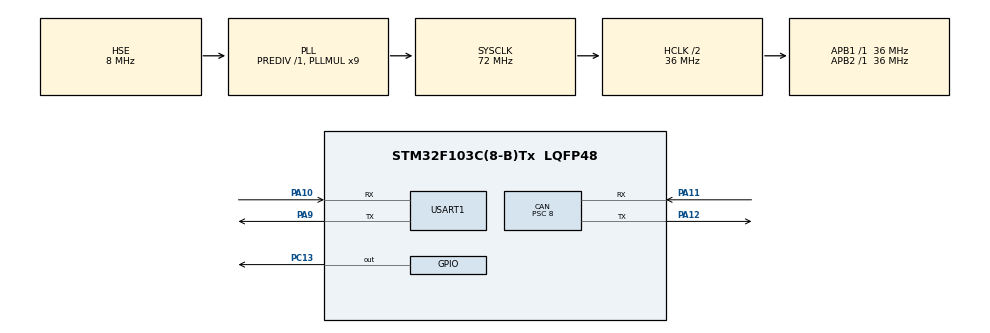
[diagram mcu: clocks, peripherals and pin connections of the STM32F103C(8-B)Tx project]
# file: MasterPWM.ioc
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CAN.ABOM=ENABLE
CAN.AWUM=ENABLE
CAN.BS1=CAN_BS1_4TQ
CAN.BS2=CAN_BS2_4TQ
CAN.CalculateBaudRate=500000
CAN.CalculateTimeBit=2000
CAN.CalculateTimeQuantum=222.22222222222223
CAN.NART=ENABLE
CAN.Prescaler=8
Mcu.Family=STM32F1
Mcu.Name=STM32F103C(8-B)Tx
Mcu.Package=LQFP48
NVIC.PriorityGroup=NVIC_PRIORITYGROUP_4
NVIC.USART1_IRQn=true\:0\:0\:false\:false\:true\:true\:true\:true
NVIC.USB_LP_CAN1_RX0_IRQn=true\:0\:0\:false\:false\:true\:true\:true\:true
PA10.GPIO_PuPd=GPIO_PULLUP
PA10.Mode=Asynchronous
PA10.Signal=USART1_RX
PA11.GPIO_PuPd=GPIO_PULLUP
PA11.Mode=CAN_Activate
PA11.Signal=CAN_RX
PA12.Mode=CAN_Activate
PA12.Signal=CAN_TX
PA13.Mode=Serial_Wire
PA13.Signal=SYS_JTMS-SWDIO
PA14.Mode=Serial_Wire
PA14.Signal=SYS_JTCK-SWCLK
PA9.Mode=Asynchronous
PA9.Signal=USART1_TX
PC13-TAMPER-RTC.PinState=GPIO_PIN_SET
PC13-TAMPER-RTC.Signal=GPIO_Output
PD0-OSC_IN.Mode=HSE-External-Oscillator
PD0-OSC_IN.Signal=RCC_OSC_IN
PD1-OSC_OUT.Mode=HSE-External-Oscillator
PD1-OSC_OUT.Signal=RCC_OSC_OUT
ProjectManager.HeapSize=0x200
ProjectManager.StackSize=0x400
ProjectManager.TargetToolchain=MDK-ARM V5
RCC.AHBCLKDivider=RCC_SYSCLK_DIV2
RCC.AHBFreq_Value=36000000
RCC.APB1Freq_Value=36000000
RCC.APB1TimFreq_Value=36000000
RCC.APB2Freq_Value=36000000
RCC.APB2TimFreq_Value=36000000
RCC.HCLKFreq_Value=36000000
RCC.PLLMUL=RCC_PLL_MUL9
RCC.PLLSourceVirtual=RCC_PLLSOURCE_HSE
RCC.SYSCLKFreq_VALUE=72000000
RCC.SYSCLKSource=RCC_SYSCLKSOURCE_PLLCLK
RCC.USBFreq_Value=72000000
USART1.VirtualMode=VM_ASYNC
board=custom

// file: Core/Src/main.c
/* USER CODE BEGIN Header */
/**
  ******************************************************************************
  * @file           : main.c
  * @brief          : Main program body
  ******************************************************************************
  * @attention
  *
  * Copyright (c) 2023 STMicroelectronics.
  * All rights reserved.
  *
  * This software is licensed under terms that can be found in the LICENSE file
  * in the root directory of this software component.
  * If no LICENSE file comes with this software, it is provided AS-IS.
  *
  ******************************************************************************
  */
/* USER CODE END Header */
#include "main.h"

/* USER CODE BEGIN Includes */
#include "string.h"
/* USER CODE END Includes */

CAN_HandleTypeDef hcan;

UART_HandleTypeDef huart1;

/* USER CODE BEGIN PV */
CAN_TxHeaderTypeDef TxHeader;
CAN_RxHeaderTypeDef RxHeader;
CAN_FilterTypeDef CanFilter;

uint16_t TxRegID = 0x501;
uint16_t RxRegID = 0x502;
uint16_t TxDataID = 0x503;
uint16_t TxStateID = 0x504;
uint16_t RxVerifyID = 0x505;

uint32_t TxMailbox;
uint8_t TxData[8];
uint8_t RxData[8];
uint8_t START_CAN = 0;
uint8_t TEST = 0, preTEST = 0;
uint16_t TT_Receive = 0, Receive = 0;
uint8_t i = 0;

int8_t rx_buffer[12];
int16_t rx_X = 0, rx_Y = 0, rx_angle = 0;
int16_t *p_X, *p_Y, *p_angle;
int8_t Path[4];
int8_t _Path[4];
uint8_t leng_path =0;
uint8_t State = 0, preState = 0, Mode = 0;
uint8_t* p_State; // = (uint8_t*)0x1234;

uint8_t TT_RX_DATA = 0;

int16_t pos = 0, pre_pos = 0;
int16_t dir = 0 ;
int16_t vel = 0, pre_vel = 0;
int16_t avg_vel = 95;
uint8_t number = 15;
uint16_t des_ctl = 0, pre_des_ctl = 0;

int8_t Trung = 0;

struct NearAddr
{
	int8_t X;
	int8_t Y;
	int16_t dir;
	int8_t stt;
};
struct Address
{
	int8_t X;
	int8_t Y;
	int8_t stt;
};
/* USER CODE END PV */

void SystemClock_Config(void);
static void MX_GPIO_Init(void);
static void MX_CAN_Init(void);
static void MX_USART1_UART_Init(void);
/* USER CODE BEGIN PFP */
//Ham gui tin nhan CAN
void CAN_Send(uint16_t ID, uint8_t leng)
{
	// Thiet lap các thông so cho gói tin du lieu can gui di
  TxHeader.StdId =  ID  ;        // Dia chi ID cua goi tin can gui di
  TxHeader.RTR = CAN_RTR_DATA;      // Loai gói tin du lieu
  TxHeader.IDE = CAN_ID_STD;       // Kieu dia chi ID
  TxHeader.DLC = leng;                // Ðo dài du lieu can gui di

  // Thêm gói tin du lieu vào hàng doi truyen và truyen di trên mang CAN
  if (HAL_CAN_AddTxMessage(&hcan, &TxHeader, TxData, &TxMailbox) == HAL_OK)
  {
  }
	else
	{
		Error_Handler();
	}

  // Cho den khi gói tin du lieu duoc truyen hoàn tat
  while (HAL_CAN_GetTxMailboxesFreeLevel(&hcan) != 3)
  {
  }
}

//Ham ngat nhan tin nhan CAN
void HAL_CAN_RxFifo0MsgPendingCallback(CAN_HandleTypeDef *hcan)
{

	if(HAL_CAN_GetRxMessage(hcan, CAN_RX_FIFO0, &RxHeader, RxData) == HAL_OK)
	{
		if( RxHeader.StdId ==  RxRegID)
		{
			number = RxData[0];
		}

		if( RxHeader.StdId ==  RxVerifyID)
		{
			number = RxData[0];
		}
	}
}

void HAL_UART_RxCpltCallback(UART_HandleTypeDef *huart)
{
	if(huart->Instance == USART1)
	{
		TT_RX_DATA = 1;
		// Process received data here
		HAL_UART_Receive_IT(&huart1, (uint8_t*)rx_buffer, sizeof(rx_buffer));
		uint8_t* p_rxX = (uint8_t*)&rx_X;
		uint8_t* p_rxY = (uint8_t*)&rx_Y;
		int8_t* p_rxAngle = (int8_t*)&rx_angle;

		p_State = &State;
		*p_State = (int)rx_buffer[0];
		Mode = (int)rx_buffer[1];

		for(int i = 0; i < 2; i++)
		{
			*(p_rxAngle + i) = rx_buffer[i+2];
		}
		p_angle = &rx_angle;
		for(int i = 0; i < 2; i++)
		{
			*(p_rxX + i) = rx_buffer[i + 4];
		}
		p_X = &rx_X;
		for(int i = 0; i < 2; i++)
		{
			*(p_rxY + i) = rx_buffer[i + 6];
		}
		p_Y = &rx_Y;
		for(int i = 0; i < 4; i++)
		{
			Path[i] = (int)rx_buffer[i+8];
		}

		pos = 0;
		if(Mode == 3)
		{
			des_ctl = rx_X;
			if(des_ctl == 1) //control Postion
			{
				pos = rx_angle;
				vel = 0;
			}
			else if(des_ctl == 2)
			{
				vel = rx_angle;
				pos = 0;
			}
		}
	}
}

void CreatAddr(struct Address address[])
{

	address[0].X = -1;
	address[0].Y = -1;
	address[0].stt = 0;

	address[1].X = 0;
	address[1].Y = 0;
	address[1].stt = 1;

	address[2].X = 0;
	address[2].Y = 2;
	address[2].stt = 2;

	address[3].X = 0;
	address[3].Y = 4;
	address[3].stt = 3;

	address[4].X = 1;
	address[4].Y = 1;
	address[4].stt = 4;

	address[5].X = 1;
	address[5].Y = 3;
	address[5].stt = 5;

	address[6].X = 2;
	address[6].Y = 0;
	address[6].stt = 6;

	address[7].X = 2;
	address[7].Y = 2;
	address[7].stt = 7;

	address[8].X = 2;
	address[8].Y = 4;
	address[8].stt = 8;

	address[9].X = 3;
	address[9].Y = 1;
	address[9].stt = 9;

	address[10].X = 3;
	address[10].Y = 3;
	address[10].stt = 10;
}

/* USER CODE END PFP */

int main(void)
{

  /* MCU Configuration--------------------------------------------------------*/

  /* Reset of all peripherals, Initializes the Flash interface and the Systick. */
  HAL_Init();

  /* Configure the system clock */
  SystemClock_Config();

  /* Initialize all configured peripherals */
  MX_GPIO_Init();
  MX_CAN_Init();
  MX_USART1_UART_Init();
  /* USER CODE BEGIN 2 */
	HAL_CAN_Start(&hcan);
	HAL_CAN_ActivateNotification(&hcan, CAN_IT_RX_FIFO0_MSG_PENDING);

	HAL_NVIC_SetPriority(CAN_IT_RX_FIFO0_MSG_PENDING, 1, 0);
	HAL_NVIC_EnableIRQ(CAN_IT_RX_FIFO0_MSG_PENDING);
	HAL_UART_Receive_IT(&huart1,(uint8_t*)rx_buffer,sizeof(rx_buffer));

	struct NearAddr near_addr[6];
	for(int i = 0; i < 6; i++)
	{
		near_addr[i].X = 0;
		near_addr[i].Y = 0;
		near_addr[i].dir = 0;
		near_addr[i].stt = 0;
	}

	struct Address address[11];
	CreatAddr(address);

  /* USER CODE END 2 */

  /* Infinite loop */
  while (1)
  {

    /* USER CODE BEGIN 3 */
		// Gui Trang thai va Che do xuong Slave moi khi duoc cap nhat
		/* ---- Thuc hien viec gui tin nhan de xac nhan viec ket noi giao tiep CAN ---- */

		if(START_CAN == 0)
		{
			for(int i = 1; i <= 10; i++)
			{
				do
				{
					TxData[0] = i;
					CAN_Send(TxRegID, 1);
				}
				while(number != i);
			}
			START_CAN = 1;
			HAL_GPIO_WritePin(GPIOC, GPIO_PIN_13, GPIO_PIN_RESET);
		}

		/*----Thuc hien viec gui tin nhan de dieu khien dong co----*/
		else  //(START_CAN == 1)
		{
			if(State != preState) //Gui trang thai va che do xuong moi slave
			{
				for(int i = 1; i <= 10; i++)
				{
					do
					{
						TxData[0] = i;
						TxData[1] = State;
						TxData[2] = Mode;
						CAN_Send(TxStateID, 3);
					}
					while(number != i);
					number = 0;
				}
				preState = State;
			}
			if(*p_State == 1)
			{
				if(Mode == 3) // -------------------------------------- Che do TEST --------------------------------------------------
				{
					if(des_ctl != pre_des_ctl || pos != pre_pos || vel != pre_vel)
					{
						for(int i = 1; i <= 10; i++)
						{
							do
							{
								TxData[0] = i;
								TxData[1] = pos >> 8;
								TxData[2] = pos;
								TxData[3] = dir >> 8;
								TxData[4] = dir;
								TxData[5] = vel >> 8;
								TxData[6] = vel;
								CAN_Send(TxDataID, 7);
							}
							while( number != i);
							number = 0;
						}
					pre_des_ctl = des_ctl;
					pre_pos = pos;
					pre_vel = vel;
					}
				}

				else if(Mode == 2) // Che do MANUAL -------------------------------------------------------------
				{
					if(Path[0] > 0 && Path[0] <= 10)
					{
						for(int i = 0; i < 4; i++)
						{
							_Path[i] = Path[i];
						}
						//Tìm do dai cua duong di
						leng_path = 0;
						for(int i = 0; i < 4; i++)
						{
							if(_Path[i] > 0 && _Path[i] <=10)	leng_path ++;
						}

						///.................Gui data cho duong di chính..................//
						for(int i = 0; i < leng_path -1; i++)
						{
							switch(address[_Path[i+1]].X - address[_Path[i]].X)
							{
								case 0:
									if(address[_Path[i+1]].Y - address[_Path[i]].Y == 2)
									{
										dir = 0;
										vel = avg_vel;
									}
									else if(address[_Path[i+1]].Y - address[_Path[i]].Y == -2)
									{
										dir = 180;
										vel = avg_vel;
									}
									break;
								case 1:
									if(address[_Path[i+1]].Y - address[_Path[i]].Y == 1)
									{
										dir = 60;
										vel = avg_vel;
									}
									else if (address[_Path[i+1]].Y - address[_Path[i]].Y == -1)
									{
										dir = 120;
										vel = avg_vel;
									}
									break;
								case -1:
									if(address[_Path[i+1]].Y - address[_Path[i]].Y == 1)
									{
										dir = -60;
										vel = avg_vel;
									}
									else if(address[_Path[i+1]].Y - address[_Path[i]].Y == -1)
									{
										dir = -120;
										vel = avg_vel;
									}
									break;

								default:
									break;
							}
							do
							{
								TxData[0] = _Path[i];
								TxData[1] = pos >> 8;
								TxData[2] = pos;
								TxData[3] = dir >> 8;
								TxData[4] = dir;
								TxData[5] = vel >> 8;
								TxData[6] = vel;
								CAN_Send(TxDataID, 7);
							}	while(number != _Path[i]);
								number = 0;
						}		//..........Ket thuc gui data cho duong di chính..............//

						// Tim cac Module xung quanh duong di và huong di cua nó.
						for(int i = 1; i < leng_path; i++)
						{
								TT_Receive = _Path[i];
							for(int k = 0; k < 6; k++)
							{
								near_addr[k].X = 0;
								near_addr[k].Y = 0;
								near_addr[k].dir = 0;
								near_addr[k].stt = 0;
							}

							near_addr[0].X = address[_Path[i]].X -1;  //  Path[3] address[Path[1]][0]  near_addr[5].stt  near_addr[5].dir  near_addr[3].dir
							near_addr[0].Y = address[_Path[i]].Y -1;
							near_addr[0].dir = 60;

							near_addr[1].X = address[_Path[i]].X -1;
							near_addr[1].Y = address[_Path[i]].Y +1;
							near_addr[1].dir = 120;

							near_addr[2].X = address[_Path[i]].X;
							near_addr[2].Y = address[_Path[i]].Y -2;
							near_addr[2].dir = 0;

							near_addr[3].X = address[_Path[i]].X;
							near_addr[3].Y = address[_Path[i]].Y +2;
							near_addr[3].dir = 180;

							near_addr[4].X = address[_Path[i]].X +1;
							near_addr[4].Y = address[_Path[i]].Y -1;
							near_addr[4].dir = -60;

							near_addr[5].X = address[_Path[i]].X +1;
							near_addr[5].Y = address[_Path[i]].Y +1;
							near_addr[5].dir = -120;

							Receive = 2;

							/*         SAI TU DAY <Khong thoat ra khoi vong lap duoc>           */

							//Tao STT cho cac module xung quanh
							for(int k = 0; k < 6; k++)
							{
								Trung = 0;
								for(int j = 1; j <= 10; j++)
								{

									if((near_addr[k].X == address[j].X) && (near_addr[k].Y == address[j].Y))
									{
										near_addr[k].stt = address[j].stt;
										Receive = 3;
									}
									else
									{
										Trung ++;
										Receive = 4;
									}
								}
								if(Trung == 10)
								{
									near_addr[k].X = -1;
									near_addr[k].Y = -1;
									near_addr[k].dir = -1;
									near_addr[k].stt = -1;
								}
							} //..........Ket thuc tao stt cho cac module..............//

							//.....Kiem tra cac module xung quanh da tao ra có trùng voi duong di ban dau khong. Có thì xóa
							for(int k = 0; k < 6; k++)
							{
								for(int j = 0; j < 4; j++)
								{
									if(near_addr[k].stt == _Path[j])
									{
										near_addr[k].X = -1;
										near_addr[k].Y = -1;
										near_addr[k].dir = -1;
										near_addr[k].stt = -1;
									}
								}
							} //.....Ket thuc xoa cac Module trung voi duong di chinh
							for(int k = 0; k < 6; k++)
							{
								if(near_addr[k].stt > 0 && near_addr[k].stt <= 10)
								{
									do
									{
										TxData[0] = near_addr[k].stt;
										TxData[1] = pos >> 8;
										TxData[2] = pos;
										TxData[3] = near_addr[k].dir >> 8;
										TxData[4] = near_addr[k].dir;
										TxData[5] = vel >> 8;
										TxData[6] = vel;
										CAN_Send(TxDataID, 7);
									} while( number != near_addr[k].stt);
									number = 0;
								}
							}
						} //..........Ket thuc gui data cho cac module xung quang duong di..............//

						while((*p_X != address[_Path[leng_path-1]].X || *p_Y != address[_Path[leng_path-1]].Y))
						{
							if (*p_State != 1 ) break;
							Receive ++;

						}

						for(int i = 1; i <= 10; i++)
						{
							if (*p_State != 1 ) break;
							vel = 0; pos = 0; dir = 0;
							do
								{
								TxData[0] = i;
								TxData[1] = pos >> 8;
								TxData[2] = pos;
								TxData[3] = dir >> 8;
								TxData[4] = dir;
								TxData[5] = vel >> 8;
								TxData[6] = vel;
								CAN_Send(TxDataID, 7);
							}	while(number != i);
							number =0;
						}
						HAL_Delay(1000);
						pos = 90 - (*p_angle);
						if(pos > 15 || pos < -15)
						{
							TxData[0] = _Path[leng_path - 1];
							TxData[1] = pos >> 8;
							TxData[2] = pos;
							TxData[3] = dir >> 8;
							TxData[4] = dir;
							TxData[5] = vel >> 8;
							TxData[6] = vel;
							CAN_Send(TxDataID, 7);
						}
						Receive = 4;
					} //..................................Ngoac cua If(Path[0] > 0) << DK de CT chi gui data 1 lan duy nhat>>...............
				}	//............Ngoac cua Mode == 2..........//
			}
		}
  }
  /* USER CODE END 3 */
}

void SystemClock_Config(void)
{
  RCC_OscInitTypeDef RCC_OscInitStruct = {0};
  RCC_ClkInitTypeDef RCC_ClkInitStruct = {0};

  /** Initializes the RCC Oscillators according to the specified parameters
  * in the RCC_OscInitTypeDef structure.
  */
  RCC_OscInitStruct.OscillatorType = RCC_OSCILLATORTYPE_HSE;
  RCC_OscInitStruct.HSEState = RCC_HSE_ON;
  RCC_OscInitStruct.HSEPredivValue = RCC_HSE_PREDIV_DIV1;
  RCC_OscInitStruct.HSIState = RCC_HSI_ON;
  RCC_OscInitStruct.PLL.PLLState = RCC_PLL_ON;
  RCC_OscInitStruct.PLL.PLLSource = RCC_PLLSOURCE_HSE;
  RCC_OscInitStruct.PLL.PLLMUL = RCC_PLL_MUL9;
  if (HAL_RCC_OscConfig(&RCC_OscInitStruct) != HAL_OK)
  {
    Error_Handler();
  }

  /** Initializes the CPU, AHB and APB buses clocks
  */
  RCC_ClkInitStruct.ClockType = RCC_CLOCKTYPE_HCLK|RCC_CLOCKTYPE_SYSCLK
                              |RCC_CLOCKTYPE_PCLK1|RCC_CLOCKTYPE_PCLK2;
  RCC_ClkInitStruct.SYSCLKSource = RCC_SYSCLKSOURCE_PLLCLK;
  RCC_ClkInitStruct.AHBCLKDivider = RCC_SYSCLK_DIV2;
  RCC_ClkInitStruct.APB1CLKDivider = RCC_HCLK_DIV1;
  RCC_ClkInitStruct.APB2CLKDivider = RCC_HCLK_DIV1;

  if (HAL_RCC_ClockConfig(&RCC_ClkInitStruct, FLASH_LATENCY_2) != HAL_OK)
  {
    Error_Handler();
  }
}

static void MX_CAN_Init(void)
{

  hcan.Instance = CAN1;
  hcan.Init.Prescaler = 8;
  hcan.Init.Mode = CAN_MODE_NORMAL;
  hcan.Init.SyncJumpWidth = CAN_SJW_1TQ;
  hcan.Init.TimeSeg1 = CAN_BS1_4TQ;
  hcan.Init.TimeSeg2 = CAN_BS2_4TQ;
  hcan.Init.TimeTriggeredMode = DISABLE;
  hcan.Init.AutoBusOff = ENABLE;
  hcan.Init.AutoWakeUp = ENABLE;
  hcan.Init.AutoRetransmission = ENABLE;
  hcan.Init.ReceiveFifoLocked = DISABLE;
  hcan.Init.TransmitFifoPriority = DISABLE;
  if (HAL_CAN_Init(&hcan) != HAL_OK)
  {
    Error_Handler();
  }
  /* USER CODE BEGIN CAN_Init 2 */
	/* ------------ Cau hinh bo loc CAN --------------*/
  CanFilter.FilterActivation = CAN_FILTER_ENABLE;
  CanFilter.FilterBank = 1; // which filter bank to use from the assigned ones
  CanFilter.FilterFIFOAssignment = CAN_FILTER_FIFO0;
  CanFilter.FilterIdHigh = 0x0000;
  CanFilter.FilterIdLow = 0x0000;
  CanFilter.FilterMaskIdHigh = 0x0000;
  CanFilter.FilterMaskIdLow = 0x0000;
  CanFilter.FilterMode = CAN_FILTERMODE_IDMASK;
  CanFilter.FilterScale = CAN_FILTERSCALE_32BIT;
  CanFilter.SlaveStartFilterBank = 1;
  if(HAL_CAN_ConfigFilter(&hcan, &CanFilter) != HAL_OK)
	{
		Error_Handler();
	}
  /* USER CODE END CAN_Init 2 */

}

static void MX_USART1_UART_Init(void)
{

  huart1.Instance = USART1;
  huart1.Init.BaudRate = 115200;
  huart1.Init.WordLength = UART_WORDLENGTH_8B;
  huart1.Init.StopBits = UART_STOPBITS_1;
  huart1.Init.Parity = UART_PARITY_NONE;
  huart1.Init.Mode = UART_MODE_TX_RX;
  huart1.Init.HwFlowCtl = UART_HWCONTROL_NONE;
  huart1.Init.OverSampling = UART_OVERSAMPLING_16;
  if (HAL_UART_Init(&huart1) != HAL_OK)
  {
    Error_Handler();
  }

}

static void MX_GPIO_Init(void)
{
  GPIO_InitTypeDef GPIO_InitStruct = {0};

  /* GPIO Ports Clock Enable */
  __HAL_RCC_GPIOC_CLK_ENABLE();
  __HAL_RCC_GPIOD_CLK_ENABLE();
  __HAL_RCC_GPIOA_CLK_ENABLE();

  /*Configure GPIO pin Output Level */
  HAL_GPIO_WritePin(GPIOC, GPIO_PIN_13, GPIO_PIN_SET);

  /*Configure GPIO pin : PC13 */
  GPIO_InitStruct.Pin = GPIO_PIN_13;
  GPIO_InitStruct.Mode = GPIO_MODE_OUTPUT_PP;
  GPIO_InitStruct.Pull = GPIO_NOPULL;
  GPIO_InitStruct.Speed = GPIO_SPEED_FREQ_LOW;
  HAL_GPIO_Init(GPIOC, &GPIO_InitStruct);

}

void Error_Handler(void)
{
  __disable_irq();
  while (1)
  {
  }
}
